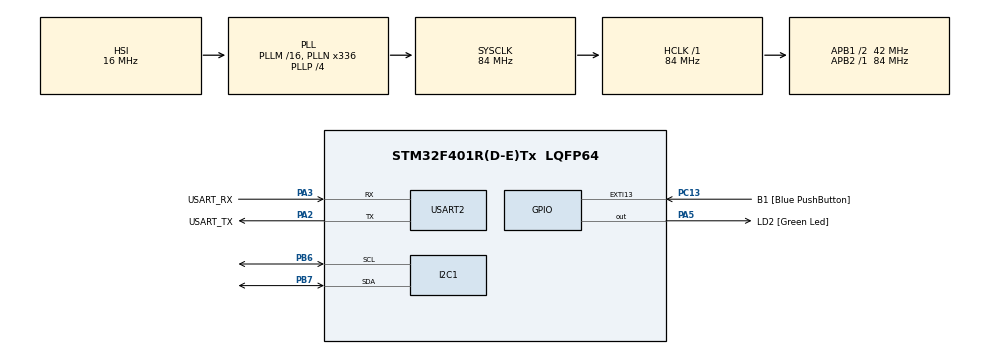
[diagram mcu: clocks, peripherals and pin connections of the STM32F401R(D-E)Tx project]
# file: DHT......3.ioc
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Mcu.Family=STM32F4
Mcu.Name=STM32F401R(D-E)Tx
Mcu.Package=LQFP64
NVIC.PriorityGroup=NVIC_PRIORITYGROUP_4
PA13.GPIO_Label=TMS
PA13.Mode=Trace_Asynchronous_SW
PA13.Signal=SYS_JTMS-SWDIO
PA14.GPIO_Label=TCK
PA14.Mode=Trace_Asynchronous_SW
PA14.Signal=SYS_JTCK-SWCLK
PA2.GPIO_Label=USART_TX
PA2.GPIO_Mode=GPIO_MODE_AF_PP
PA2.GPIO_PuPd=GPIO_NOPULL
PA2.GPIO_Speed=GPIO_SPEED_FREQ_LOW
PA2.Mode=Asynchronous
PA2.Signal=USART2_TX
PA3.GPIO_Label=USART_RX
PA3.GPIO_Mode=GPIO_MODE_AF_PP
PA3.GPIO_PuPd=GPIO_NOPULL
PA3.GPIO_Speed=GPIO_SPEED_FREQ_LOW
PA3.Mode=Asynchronous
PA3.Signal=USART2_RX
PA5.GPIO_Label=LD2 [Green Led]
PA5.GPIO_Mode=GPIO_MODE_OUTPUT_PP
PA5.GPIO_PuPd=GPIO_NOPULL
PA5.GPIO_Speed=GPIO_SPEED_FREQ_LOW
PA5.Signal=GPIO_Output
PB3.GPIO_Label=SWO
PB3.Mode=Trace_Asynchronous_SW
PB3.Signal=SYS_JTDO-SWO
PB6.Mode=I2C
PB6.Signal=I2C1_SCL
PB7.Mode=I2C
PB7.Signal=I2C1_SDA
PC13-ANTI_TAMP.GPIO_Label=B1 [Blue PushButton]
PC13-ANTI_TAMP.GPIO_ModeDefaultEXTI=GPIO_MODE_IT_FALLING
PC13-ANTI_TAMP.GPIO_PuPd=GPIO_NOPULL
PC13-ANTI_TAMP.Signal=GPXTI13
PC14-OSC32_IN.Mode=LSE-External-Oscillator
PC14-OSC32_IN.Signal=RCC_OSC32_IN
PC15-OSC32_OUT.Mode=LSE-External-Oscillator
PC15-OSC32_OUT.Signal=RCC_OSC32_OUT
PH0\ -\ OSC_IN.Mode=HSE-External-Clock-Source
PH0\ -\ OSC_IN.Signal=RCC_OSC_IN
PH1\ -\ OSC_OUT.Mode=HSE-External-Clock-Source
PH1\ -\ OSC_OUT.Signal=RCC_OSC_OUT
ProjectManager.HeapSize=0x200
ProjectManager.StackSize=0x400
ProjectManager.TargetToolchain=STM32CubeIDE
RCC.48MHZClocksFreq_Value=48000000
RCC.AHBFreq_Value=84000000
RCC.APB1CLKDivider=RCC_HCLK_DIV2
RCC.APB1Freq_Value=42000000
RCC.APB1TimFreq_Value=84000000
RCC.APB2Freq_Value=84000000
RCC.APB2TimFreq_Value=84000000
RCC.CortexFreq_Value=84000000
RCC.HCLKFreq_Value=84000000
RCC.HSE_VALUE=8000000
RCC.HSI_VALUE=16000000
RCC.PLLN=336
RCC.PLLP=RCC_PLLP_DIV4
RCC.PLLQ=7
RCC.SYSCLKFreq_VALUE=84000000
RCC.SYSCLKSource=RCC_SYSCLKSOURCE_PLLCLK
RCC.VCOOutputFreq_Value=336000000
TIM2.AutoReloadPreload=TIM_AUTORELOAD_PRELOAD_ENABLE
TIM2.Period=0xFFFF
TIM2.Prescaler=83
USART2.VirtualMode=VM_ASYNC
VP_TIM2_VS_ClockSourceINT.Mode=Internal
board=NUCLEO-F401RE

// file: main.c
/* USER CODE BEGIN Header */
/**
  ******************************************************************************
  * @file           : main.c
  * @brief          : Main program body
  ******************************************************************************
  * @attention
  *
  * Copyright (c) 2025 STMicroelectronics.
  * All rights reserved.
  *
  ******************************************************************************
  */
/* USER CODE END Header */
#include "main.h"
#include <string.h>
#include <stdio.h>

/* USER CODE BEGIN PTD */
#define ESP32_I2C_ADDR (0x08 << 1)
/* USER CODE END PTD */

I2C_HandleTypeDef hi2c1;

TIM_HandleTypeDef htim2;

UART_HandleTypeDef huart2;

void SystemClock_Config(void);
static void MX_GPIO_Init(void);
static void MX_USART2_UART_Init(void);
static void MX_TIM2_Init(void);
static void MX_I2C1_Init(void);

/* USER CODE BEGIN 0 */
#define DHT11_PORT GPIOA
#define DHT11_PIN GPIO_PIN_8

int temperature = 0;
int humidity = 0;

// ===== Hàm delay us bằng TIM2 =====
void delay_us(uint16_t us) {
    __HAL_TIM_SET_COUNTER(&htim2, 0);
    while (__HAL_TIM_GET_COUNTER(&htim2) < us);
}

// ===== Gửi tín hiệu start cho DHT11 =====
void DHT11_SetPinOutput(void) {
    GPIO_InitTypeDef GPIO_InitStruct = {0};
    GPIO_InitStruct.Pin = DHT11_PIN;
    GPIO_InitStruct.Mode = GPIO_MODE_OUTPUT_PP;
    GPIO_InitStruct.Speed = GPIO_SPEED_FREQ_LOW;
    HAL_GPIO_Init(DHT11_PORT, &GPIO_InitStruct);
}

void DHT11_SetPinInput(void) {
    GPIO_InitTypeDef GPIO_InitStruct = {0};
    GPIO_InitStruct.Pin = DHT11_PIN;
    GPIO_InitStruct.Mode = GPIO_MODE_INPUT;
    GPIO_InitStruct.Pull = GPIO_NOPULL;
    HAL_GPIO_Init(DHT11_PORT, &GPIO_InitStruct);
}

void DHT11_Start(void) {
    DHT11_SetPinOutput();
    HAL_GPIO_WritePin(DHT11_PORT, DHT11_PIN, GPIO_PIN_RESET);
    HAL_Delay(20);              // giữ LOW 20ms
    HAL_GPIO_WritePin(DHT11_PORT, DHT11_PIN, GPIO_PIN_SET);
    delay_us(30);               // lên HIGH 20-40us
    DHT11_SetPinInput();
}

uint8_t DHT11_CheckResponse(void) {
    uint8_t resp = 0;
    delay_us(40);
    if (!HAL_GPIO_ReadPin(DHT11_PORT, DHT11_PIN)) {
        delay_us(80);
        if (HAL_GPIO_ReadPin(DHT11_PORT, DHT11_PIN)) resp = 1;
        delay_us(40);
    }
    return resp;
}

uint8_t DHT11_ReadByte(void) {
    uint8_t i, j;
    uint8_t result = 0;
    for (j = 0; j < 8; j++) {
        while (!HAL_GPIO_ReadPin(DHT11_PORT, DHT11_PIN)); // chờ pin HIGH
        delay_us(30);
        if (HAL_GPIO_ReadPin(DHT11_PORT, DHT11_PIN)) {
            result |= (1 << (7 - j));   // bit = 1
            while (HAL_GPIO_ReadPin(DHT11_PORT, DHT11_PIN)); // đợi xuống LOW
        }
    }
    return result;
}

void DHT11_ReadData(void) {
    uint8_t Rh_byte1, Rh_byte2, Temp_byte1, Temp_byte2, sum;
    DHT11_Start();
    if (DHT11_CheckResponse()) {
        Rh_byte1    = DHT11_ReadByte();
        Rh_byte2    = DHT11_ReadByte();
        Temp_byte1  = DHT11_ReadByte();
        Temp_byte2  = DHT11_ReadByte();
        sum         = DHT11_ReadByte();

        if (sum == (Rh_byte1 + Rh_byte2 + Temp_byte1 + Temp_byte2)) {
            humidity    = Rh_byte1;
            temperature = Temp_byte1;
        }
    }
}

/* USER CODE END 0 */

int main(void) {
    HAL_Init();
    SystemClock_Config();
    MX_GPIO_Init();
    MX_USART2_UART_Init();
    MX_I2C1_Init();
    MX_TIM2_Init();

    HAL_TIM_Base_Start(&htim2);

    char buffer[50];

    while (1) {
        DHT11_ReadData();
        sprintf(buffer, "Temp=%d Hum=%d\r\n", temperature, humidity);
        HAL_UART_Transmit(&huart2, (uint8_t*)buffer, strlen(buffer), 100);

        // gửi qua I2C cho ESP32 (slave addr = 0x08)
        sprintf(buffer, "T%dH%d", temperature, humidity);
        HAL_I2C_Master_Transmit(&hi2c1, 0x08 << 1, (uint8_t*)buffer, strlen(buffer), 100);

        HAL_Delay(2000);
    }
}

void SystemClock_Config(void)
{
  RCC_OscInitTypeDef RCC_OscInitStruct = {0};
  RCC_ClkInitTypeDef RCC_ClkInitStruct = {0};

  /** Configure the main internal regulator output voltage
  */
  __HAL_RCC_PWR_CLK_ENABLE();
  __HAL_PWR_VOLTAGESCALING_CONFIG(PWR_REGULATOR_VOLTAGE_SCALE2);

  /** Initializes the RCC Oscillators according to the specified parameters
  * in the RCC_OscInitTypeDef structure.
  */
  RCC_OscInitStruct.OscillatorType = RCC_OSCILLATORTYPE_HSI;
  RCC_OscInitStruct.HSIState = RCC_HSI_ON;
  RCC_OscInitStruct.HSICalibrationValue = RCC_HSICALIBRATION_DEFAULT;
  RCC_OscInitStruct.PLL.PLLState = RCC_PLL_ON;
  RCC_OscInitStruct.PLL.PLLSource = RCC_PLLSOURCE_HSI;
  RCC_OscInitStruct.PLL.PLLM = 16;
  RCC_OscInitStruct.PLL.PLLN = 336;
  RCC_OscInitStruct.PLL.PLLP = RCC_PLLP_DIV4;
  RCC_OscInitStruct.PLL.PLLQ = 7;
  if (HAL_RCC_OscConfig(&RCC_OscInitStruct) != HAL_OK)
  {
    Error_Handler();
  }

  /** Initializes the CPU, AHB and APB buses clocks
  */
  RCC_ClkInitStruct.ClockType = RCC_CLOCKTYPE_HCLK|RCC_CLOCKTYPE_SYSCLK
                              |RCC_CLOCKTYPE_PCLK1|RCC_CLOCKTYPE_PCLK2;
  RCC_ClkInitStruct.SYSCLKSource = RCC_SYSCLKSOURCE_PLLCLK;
  RCC_ClkInitStruct.AHBCLKDivider = RCC_SYSCLK_DIV1;
  RCC_ClkInitStruct.APB1CLKDivider = RCC_HCLK_DIV2;
  RCC_ClkInitStruct.APB2CLKDivider = RCC_HCLK_DIV1;

  if (HAL_RCC_ClockConfig(&RCC_ClkInitStruct, FLASH_LATENCY_2) != HAL_OK)
  {
    Error_Handler();
  }
}

static void MX_I2C1_Init(void)
{

  hi2c1.Instance = I2C1;
  hi2c1.Init.ClockSpeed = 100000;
  hi2c1.Init.DutyCycle = I2C_DUTYCYCLE_2;
  hi2c1.Init.OwnAddress1 = 0;
  hi2c1.Init.AddressingMode = I2C_ADDRESSINGMODE_7BIT;
  hi2c1.Init.DualAddressMode = I2C_DUALADDRESS_DISABLE;
  hi2c1.Init.OwnAddress2 = 0;
  hi2c1.Init.GeneralCallMode = I2C_GENERALCALL_DISABLE;
  hi2c1.Init.NoStretchMode = I2C_NOSTRETCH_DISABLE;
  if (HAL_I2C_Init(&hi2c1) != HAL_OK)
  {
    Error_Handler();
  }

}

static void MX_TIM2_Init(void)
{

  TIM_ClockConfigTypeDef sClockSourceConfig = {0};
  TIM_MasterConfigTypeDef sMasterConfig = {0};

  htim2.Instance = TIM2;
  htim2.Init.Prescaler = 83;
  htim2.Init.CounterMode = TIM_COUNTERMODE_UP;
  htim2.Init.Period = 0xFFFF;
  htim2.Init.ClockDivision = TIM_CLOCKDIVISION_DIV1;
  htim2.Init.AutoReloadPreload = TIM_AUTORELOAD_PRELOAD_ENABLE;
  if (HAL_TIM_Base_Init(&htim2) != HAL_OK)
  {
    Error_Handler();
  }
  sClockSourceConfig.ClockSource = TIM_CLOCKSOURCE_INTERNAL;
  if (HAL_TIM_ConfigClockSource(&htim2, &sClockSourceConfig) != HAL_OK)
  {
    Error_Handler();
  }
  sMasterConfig.MasterOutputTrigger = TIM_TRGO_RESET;
  sMasterConfig.MasterSlaveMode = TIM_MASTERSLAVEMODE_DISABLE;
  if (HAL_TIMEx_MasterConfigSynchronization(&htim2, &sMasterConfig) != HAL_OK)
  {
    Error_Handler();
  }

}

static void MX_USART2_UART_Init(void)
{

  huart2.Instance = USART2;
  huart2.Init.BaudRate = 115200;
  huart2.Init.WordLength = UART_WORDLENGTH_8B;
  huart2.Init.StopBits = UART_STOPBITS_1;
  huart2.Init.Parity = UART_PARITY_NONE;
  huart2.Init.Mode = UART_MODE_TX_RX;
  huart2.Init.HwFlowCtl = UART_HWCONTROL_NONE;
  huart2.Init.OverSampling = UART_OVERSAMPLING_16;
  if (HAL_UART_Init(&huart2) != HAL_OK)
  {
    Error_Handler();
  }

}

static void MX_GPIO_Init(void)
{
  GPIO_InitTypeDef GPIO_InitStruct = {0};

  /* GPIO Ports Clock Enable */
  __HAL_RCC_GPIOC_CLK_ENABLE();
  __HAL_RCC_GPIOH_CLK_ENABLE();
  __HAL_RCC_GPIOA_CLK_ENABLE();
  __HAL_RCC_GPIOB_CLK_ENABLE();

  /*Configure GPIO pin Output Level */
  HAL_GPIO_WritePin(LD2_GPIO_Port, LD2_Pin, GPIO_PIN_RESET);

  /*Configure GPIO pin : B1_Pin */
  GPIO_InitStruct.Pin = B1_Pin;
  GPIO_InitStruct.Mode = GPIO_MODE_IT_FALLING;
  GPIO_InitStruct.Pull = GPIO_NOPULL;
  HAL_GPIO_Init(B1_GPIO_Port, &GPIO_InitStruct);

  /*Configure GPIO pin : LD2_Pin */
  GPIO_InitStruct.Pin = LD2_Pin;
  GPIO_InitStruct.Mode = GPIO_MODE_OUTPUT_PP;
  GPIO_InitStruct.Pull = GPIO_NOPULL;
  GPIO_InitStruct.Speed = GPIO_SPEED_FREQ_LOW;
  HAL_GPIO_Init(LD2_GPIO_Port, &GPIO_InitStruct);

}

void Error_Handler(void)
{
  __disable_irq();
  while (1)
  {
  }
}
